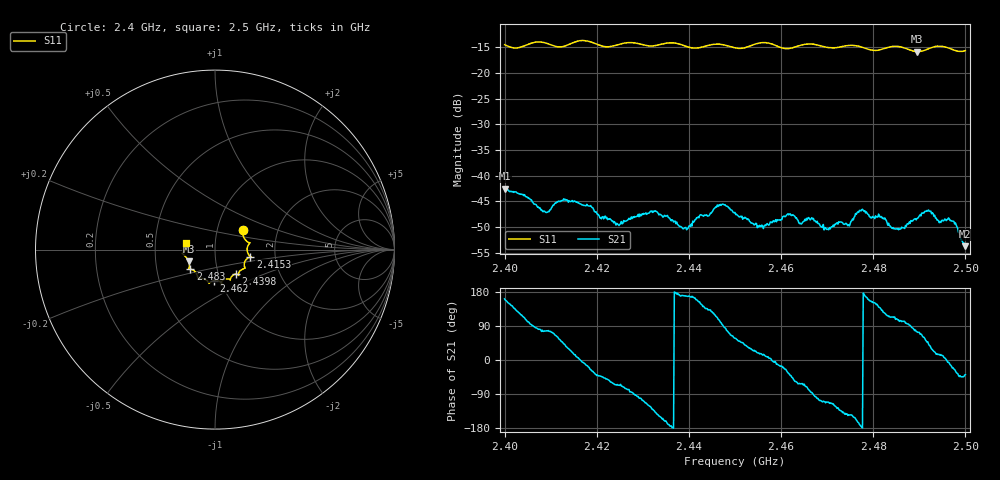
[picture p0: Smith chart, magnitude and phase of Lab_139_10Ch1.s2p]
# Hz S RI R 50
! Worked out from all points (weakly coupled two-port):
!   601 points, 2.4 GHz to 2.5 GHz, reference 50 ohm
!   highest |S21| = -42.55 dB at 2.4 GHz (marker M1); lowest = -53.7 dB at 2.4998 GHz (marker M2)
!   lowest |S11| = -15.9 dB at 2.4895 GHz (marker M3), VSWR 1.38, Z = 36.9 - j5.01 ohm
!   |S11| at or under -10 dB: start of sweep to end of sweep
!   S12 and S22 are empty: the file has one direction only
!   S11 on the Smith chart (normalised r, x): 2.4 GHz: 1.33, +0.29; 2.4153 GHz: 1.48, -0.12; 2.4398 GHz: 1.21, -0.34; 2.462 GHz: 0.93, -0.33; 2.483 GHz: 0.74, -0.17; 2.5 GHz: 0.72, +0.06
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2.4e9  0.1547 0.1065  -0.00707 0.00239  0 0  0 0
2.408833e9  0.1926 0.0351  0.00104 0.0043  0 0  0 0
2.415333e9  0.1963 -0.0389  0.00545 0.00134  0 0  0 0
2.416667e9  0.2019 -0.0431  0.00524 -0.000265  0 0  0 0
2.424667e9  0.1638 -0.0933  0.00134 -0.00305  0 0  0 0
2.433333e9  0.1309 -0.1335  -0.00352 -0.00246  0 0  0 0
2.439833e9  0.1152 -0.1363  -0.00303 0.00065  0 0  0 0
2.446667e9  0.085 -0.1698  -0.0012 0.00498  0 0  0 0
2.45e9  0.0648 -0.1629  0.00237 0.0037  0 0  0 0
2.455667e9  0.0376 -0.1926  0.00306 0.000918  0 0  0 0
2.462e9  -0.00513 -0.1732  0.00321 -0.0028  0 0  0 0
2.466667e9  -0.0342 -0.1877  0.000305 -0.00389  0 0  0 0
2.470333e9  -0.0509 -0.1685  -0.00109 -0.00278  0 0  0 0
2.4775e9  -0.0975 -0.149  -0.00467 -0.000334  0 0  0 0
2.483e9  -0.1375 -0.1094  -0.0016 0.00311  0 0  0 0
2.483333e9  -0.14 -0.1091  -0.00144 0.00314  0 0  0 0
2.486333e9  -0.1447 -0.1021  -0.000662 0.00304  0 0  0 0
2.4895e9  -0.1463 -0.0661  0.00103 0.0037  0 0  0 0
2.492e9  -0.1681 -0.035  0.00344 0.00311  0 0  0 0
2.496833e9  -0.171 -0.0084  0.00356 -0.000888  0 0  0 0
2.499833e9  -0.1597 0.0362  0.00158 -0.00133  0 0  0 0
2.5e9  -0.1599 0.0392  0.00167 -0.00134  0 0  0 0
